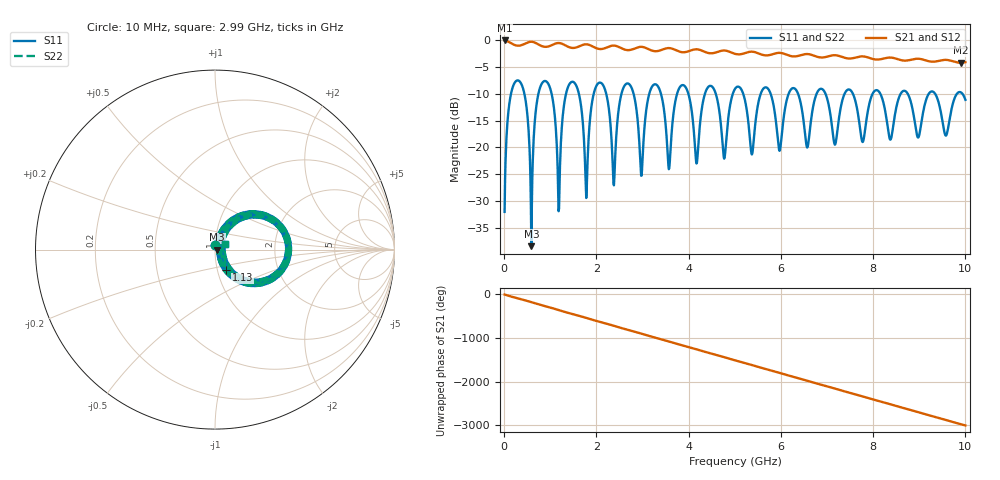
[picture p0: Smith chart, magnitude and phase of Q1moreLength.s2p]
! Touchstone generated by fitter/viewer
# HZ S  RI R 5.000000e+001
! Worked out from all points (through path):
!   1000 points, 10 MHz to 10 GHz, reference 50 ohm
!   highest |S21| = -0.01 dB at 10 MHz (marker M1); lowest = -4.2 dB at 9.9 GHz (marker M2)
!   group delay of S21, straight-line fit = 834 ps
!   lowest |S11| = -38.4 dB at 590 MHz (marker M3), VSWR 1.02, Z = 51.2 - j0.00068 ohm
!   |S11| at or under -10 dB: 8.158 GHz to 8.595 GHz (436.8 MHz wide, 5.21 % of centre); 8.752 GHz to 9.203 GHz (451.4 MHz wide, 5.03 % of centre); 9.346 GHz to 9.814 GHz (467.7 MHz wide, 4.88 % of centre)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
!   |S22| runs from -38.4 to -7.5 dB; largest |S21 - S12| = 0
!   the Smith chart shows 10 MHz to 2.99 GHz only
!   S11 on the Smith chart (normalised r, x): 10 MHz: 1.00, +0.05; 1.13 GHz: 1.10, -0.26; 2.99 GHz: 1.12, +0.07
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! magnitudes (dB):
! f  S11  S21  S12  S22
! 10 MHz  -32.0  0.0  0.0  -32.0
! 280 MHz  -7.5  -1.0  -1.0  -7.5
! 590 MHz  -38.4  -0.2  -0.2  -38.4
! 840 MHz  -7.8  -1.1  -1.1  -7.8
! 1.13 GHz  -17.7  -0.5  -0.5  -17.7
! 1.68 GHz  -13.1  -0.9  -0.9  -13.1
! 1.78 GHz  -29.4  -0.7  -0.7  -29.4
! 2.14 GHz  -8.3  -1.6  -1.6  -8.3
! 2.38 GHz  -27.1  -1.0  -1.0  -27.1
! 2.7 GHz  -8.1  -1.8  -1.8  -8.1
! 2.99 GHz  -24.0  -1.2  -1.2  -24.0
! 3.34 GHz  -8.7  -2.0  -2.0  -8.7
! 3.57 GHz  -24.1  -1.4  -1.4  -24.1
! 3.83 GHz  -8.5  -2.2  -2.2  -8.5
! 4.17 GHz  -23.0  -1.7  -1.7  -23.0
! 5.01 GHz  -9.0  -2.5  -2.5  -9.0
! 5.37 GHz  -21.3  -2.1  -2.1  -21.3
! 5.65 GHz  -8.8  -2.8  -2.8  -8.8
! 6.67 GHz  -13.9  -2.7  -2.7  -13.9
! 8.34 GHz  -17.6  -3.2  -3.2  -17.6
! 9.9 GHz  -9.7  -4.2  -4.2  -9.7
! 10 GHz  -11.1  -4.1  -4.1  -11.1
